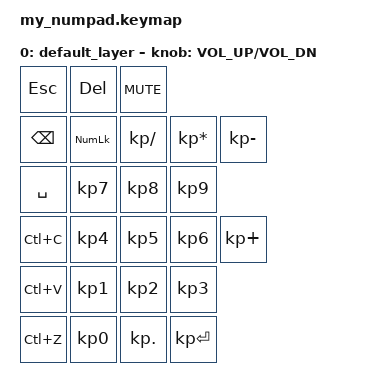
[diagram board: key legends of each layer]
#include <behaviors.dtsi>
#include <dt-bindings/zmk/keys.h>

/ {
    keymap {
        compatible = "zmk,keymap";

        default_layer {
            bindings = <
                &kp ESC    &kp DEL     &kp C_MUTE
                &kp BSPC   &kp KP_NUM  &kp KP_SLASH  &kp KP_MULTIPLY  &kp KP_MINUS
                &kp SPACE  &kp KP_N7   &kp KP_N8     &kp KP_N9
                &kp LC(C)  &kp KP_N4   &kp KP_N5     &kp KP_N6        &kp KP_PLUS
                &kp LC(V)  &kp KP_N1   &kp KP_N2     &kp KP_N3
                &kp LC(Z)  &kp KP_N0   &kp KP_DOT    &kp KP_ENTER
            >;

            // Knob rotation: clockwise = volume up, counter-clockwise = volume down.
            sensor-bindings = <&inc_dec_kp C_VOL_UP C_VOL_DN>;
        };
    };
};
